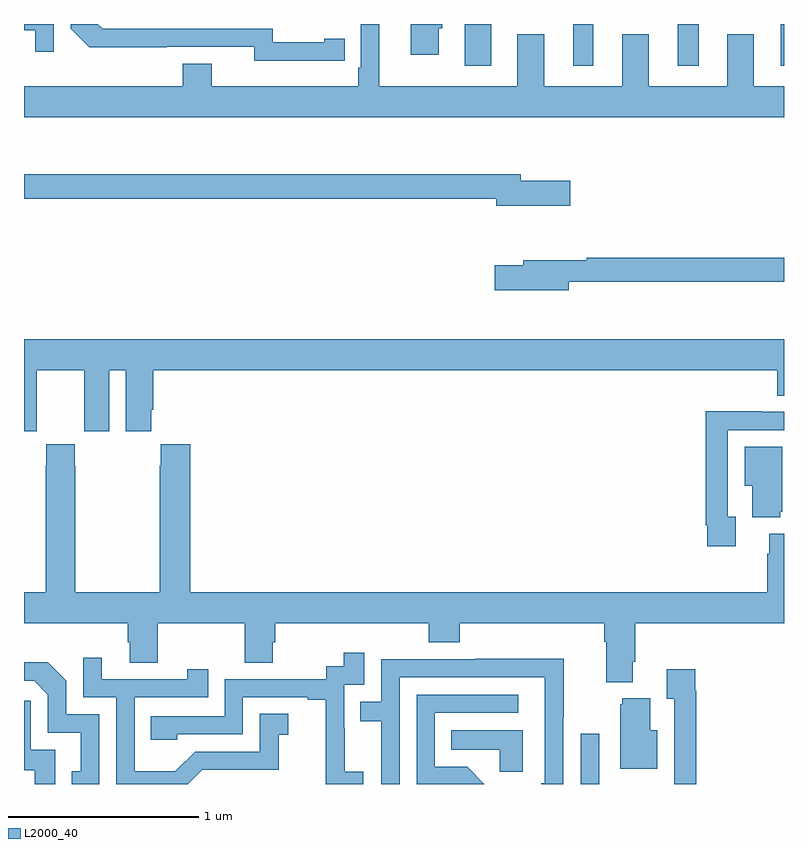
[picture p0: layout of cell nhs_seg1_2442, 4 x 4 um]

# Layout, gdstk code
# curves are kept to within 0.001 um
import gdstk
lib = gdstk.Library(unit=1e-6, precision=1e-09)
def R(c, l, rs):  # rectangles x0, y0, x1, y1
    for r in rs: c.add(gdstk.rectangle(r[:2], r[2:], *l))
def P(c, l, *ps):  # polygons
    for p in ps: c.add(gdstk.Polygon(p, *l))
L2000_40 = (2000, 40)

nhs_seg1_2442 = lib.new_cell('nhs_seg1_2442')
R(nhs_seg1_2442, L2000_40, [(245.931,572.199,246.027,572.464), (245.321,575.979,245.458,576.199), (245.891,575.979,245.995,576.199), (246.44,575.979,246.55,576.199), (246.983,575.979,247,576.199)])
P(nhs_seg1_2442, L2000_40, [(247,575.872),(246.841,575.872),(246.841,576.145),(246.701,576.145),(246.701,575.872),(246.289,575.872),(246.289,576.145),(246.149,576.145),(246.149,575.872),(245.737,575.872),(245.737,576.145),(245.597,576.145),(245.597,575.872),(244.87,575.872),(244.87,576.199),(244.773,576.199),(244.773,575.968),(244.76,575.968),(244.76,575.872),(243.988,575.872),(243.988,575.989),(243.836,575.989),(243.836,575.872),(243,575.872),(243,575.708),(247,575.708)],
  [(243.156,576.199),(243,576.199),(243,576.165),(243.059,576.165),(243.059,576.054),(243.156,576.054)],
  [(244.58,576.006),(244.688,576.006),(244.688,576.122),(244.58,576.122),(244.58,576.102),(244.308,576.102),(244.308,576.174),(243.414,576.174),(243.389,576.199),(243.246,576.199),(243.246,576.174),(243.344,576.077),(244.212,576.078),(244.212,576.005)],
  [(245.182,576.177),(245.2,576.177),(245.2,576.199),(245.036,576.199),(245.036,576.036),(245.182,576.036)],
  [(245.875,575.373),(245.614,575.373),(245.614,575.407),(243,575.407),(243,575.278),(245.486,575.278),(245.486,575.243),(245.875,575.243)],
  [(245.866,574.842),(247,574.842),(247,574.97),(245.962,574.97),(245.962,574.955),(245.627,574.955),(245.627,574.929),(245.478,574.929),(245.478,574.799),(245.866,574.799)],
  [(243.066,574.168),(243.067,574.168),(243.067,574.376),(243.317,574.376),(243.317,574.168),(243.318,574.168),(243.318,574.056),(243.448,574.056),(243.448,574.376),(243.536,574.376),(243.536,574.056),(243.67,574.056),(243.67,574.168),(243.68,574.168),(243.68,574.376),(246.965,574.376),(246.965,574.243),(247,574.243),(247,574.54),(243,574.54),(243,574.056),(243.066,574.056)],
  [(246.745,573.606),(246.705,573.606),(246.705,574.062),(247,574.062),(247,574.158),(246.881,574.158),(246.881,574.16),(246.589,574.16),(246.589,573.562),(246.597,573.562),(246.597,573.45),(246.745,573.45)],
  [(243.875,573.988),(243.721,573.988),(243.721,573.875),(243.715,573.875),(243.715,573.208),(243.27,573.208),(243.27,573.875),(243.267,573.875),(243.267,573.988),(243.117,573.988),(243.117,573.875),(243.115,573.875),(243.115,573.208),(243,573.208),(243,573.044),(243.545,573.044),(243.545,572.946),(243.557,572.946),(243.557,572.836),(243.705,572.836),(243.705,573.044),(244.162,573.044),(244.162,572.836),(244.309,572.836),(244.309,572.946),(244.322,572.946),(244.322,573.044),(245.129,573.044),(245.129,572.945),(245.294,572.945),(245.294,573.044),(246.053,573.044),(246.053,572.948),(246.065,572.948),(246.065,572.735),(246.205,572.735),(246.205,572.842),(246.218,572.842),(246.218,573.044),(247,573.044),(247,573.517),(246.923,573.517),(246.923,573.41),(246.911,573.41),(246.911,573.208),(243.875,573.208)],
  [(246.98,573.633),(246.991,573.633),(246.991,573.973),(246.794,573.973),(246.794,573.77),(246.833,573.77),(246.833,573.602),(246.98,573.602)],
  [(244.786,572.263),(244.688,572.263),(244.688,572.492),(244.686,572.492),(244.686,572.721),(244.791,572.721),(244.791,572.89),(244.683,572.89),(244.683,572.82),(244.59,572.82),(244.59,572.751),(244.056,572.751),(244.056,572.556),(243.667,572.556),(243.667,572.433),(243.807,572.433),(243.807,572.46),(244.152,572.46),(244.152,572.655),(244.493,572.655),(244.493,572.643),(244.589,572.643),(244.589,572.359),(244.588,572.359),(244.588,572.199),(244.786,572.199)],
  [(243.937,572.274),(244.341,572.274),(244.341,572.459),(244.39,572.459),(244.39,572.569),(244.242,572.569),(244.242,572.37),(243.9,572.37),(243.796,572.266),(243.582,572.266),(243.582,572.655),(243.971,572.655),(243.971,572.803),(243.86,572.803),(243.86,572.751),(243.409,572.751),(243.409,572.863),(243.312,572.863),(243.312,572.655),(243.486,572.655),(243.486,572.199),(243.862,572.199)],
  [(244.977,572.76),(245.742,572.76),(245.742,572.202),(245.723,572.202),(245.723,572.199),(245.838,572.199),(245.838,572.551),(245.841,572.551),(245.841,572.858),(245.377,572.858),(245.377,572.856),(244.881,572.856),(244.881,572.631),(244.771,572.631),(244.771,572.53),(244.881,572.53),(244.881,572.199),(244.977,572.199)],
  [(243.396,572.565),(243.222,572.565),(243.222,572.742),(243.124,572.84),(243,572.84),(243,572.742),(243.054,572.742),(243.126,572.67),(243.126,572.469),(243.299,572.469),(243.299,572.265),(243.25,572.265),(243.25,572.199),(243.396,572.199)],
  [(246.539,572.69),(246.532,572.69),(246.532,572.803),(246.383,572.803),(246.383,572.647),(246.423,572.647),(246.423,572.199),(246.539,572.199)],
  [(245.332,572.289),(245.163,572.289),(245.163,572.574),(245.602,572.574),(245.602,572.67),(245.067,572.67),(245.067,572.199),(245.422,572.199)],
  [(246.334,572.482),(246.295,572.482),(246.295,572.65),(246.149,572.65),(246.149,572.619),(246.137,572.619),(246.137,572.279),(246.334,572.279)],
  [(243.165,572.379),(243.036,572.379),(243.036,572.638),(243,572.638),(243,572.271),(243.057,572.271),(243.057,572.199),(243.165,572.199)],
  [(245.626,572.482),(245.248,572.482),(245.248,572.378),(245.505,572.378),(245.505,572.263),(245.626,572.263)])

lib.write_gds('nhs_seg1_2442.gds')
